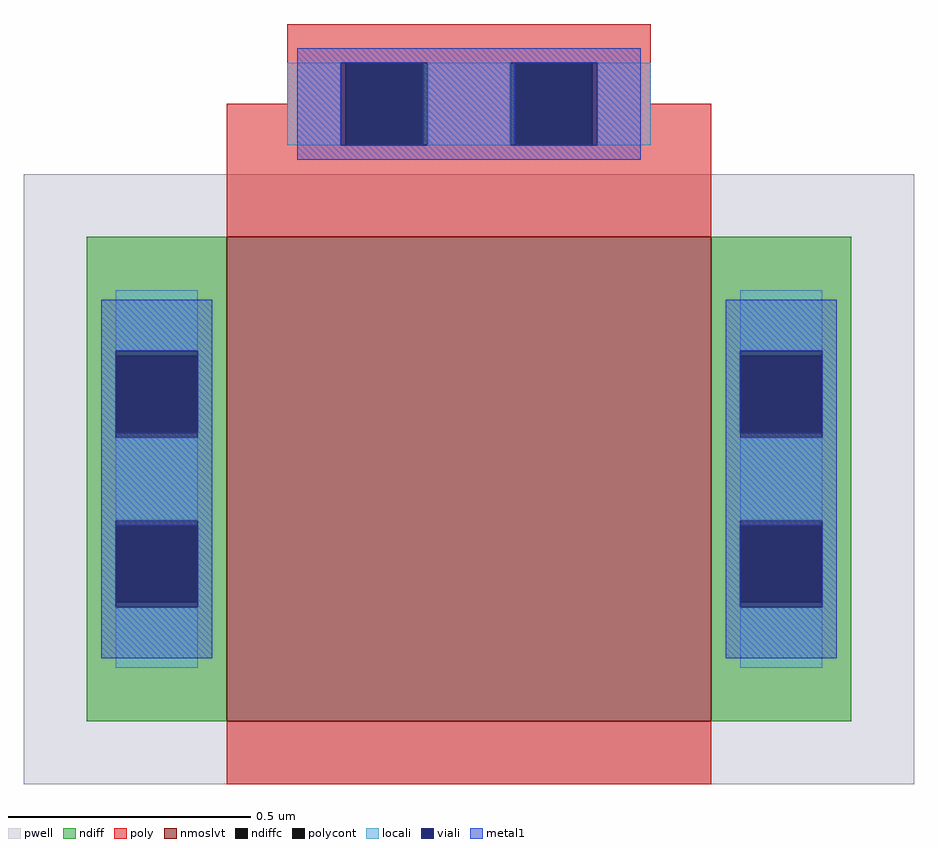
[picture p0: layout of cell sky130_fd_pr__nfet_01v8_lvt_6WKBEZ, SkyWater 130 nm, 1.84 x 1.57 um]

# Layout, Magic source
magic
tech sky130A
magscale 1 2
<< pwell >>
rect -184 -157 184 95
<< nmoslvt >>
rect -100 -131 100 69
<< ndiff >>
rect -158 20 -100 69
rect -158 -14 -146 20
rect -112 -14 -100 20
rect -158 -48 -100 -14
rect -158 -82 -146 -48
rect -112 -82 -100 -48
rect -158 -131 -100 -82
rect 100 20 158 69
rect 100 -14 112 20
rect 146 -14 158 20
rect 100 -48 158 -14
rect 100 -82 112 -48
rect 146 -82 158 -48
rect 100 -131 158 -82
<< ndiffc >>
rect -146 -14 -112 20
rect -146 -82 -112 -48
rect 112 -14 146 20
rect 112 -82 146 -48
<< poly >>
rect -75 141 75 157
rect -75 124 -51 141
rect -100 107 -51 124
rect -17 107 17 141
rect 51 124 75 141
rect 51 107 100 124
rect -100 69 100 107
rect -100 -157 100 -131
<< polycont >>
rect -51 107 -17 141
rect 17 107 51 141
<< locali >>
rect -75 107 -53 141
rect -17 107 17 141
rect 53 107 75 141
rect -146 22 -112 47
rect -146 -48 -112 -14
rect -146 -109 -112 -84
rect 112 22 146 47
rect 112 -48 146 -14
rect 112 -109 146 -84
<< viali >>
rect -53 107 -51 141
rect -51 107 -19 141
rect 19 107 51 141
rect 51 107 53 141
rect -146 20 -112 22
rect -146 -12 -112 20
rect -146 -82 -112 -50
rect -146 -84 -112 -82
rect 112 20 146 22
rect 112 -12 146 20
rect 112 -82 146 -50
rect 112 -84 146 -82
<< metal1 >>
rect -71 141 71 147
rect -71 107 -53 141
rect -19 107 19 141
rect 53 107 71 141
rect -71 101 71 107
rect -152 22 -106 43
rect -152 -12 -146 22
rect -112 -12 -106 22
rect -152 -50 -106 -12
rect -152 -84 -146 -50
rect -112 -84 -106 -50
rect -152 -105 -106 -84
rect 106 22 152 43
rect 106 -12 112 22
rect 146 -12 152 22
rect 106 -50 152 -12
rect 106 -84 112 -50
rect 146 -84 152 -50
rect 106 -105 152 -84
<< end >>
